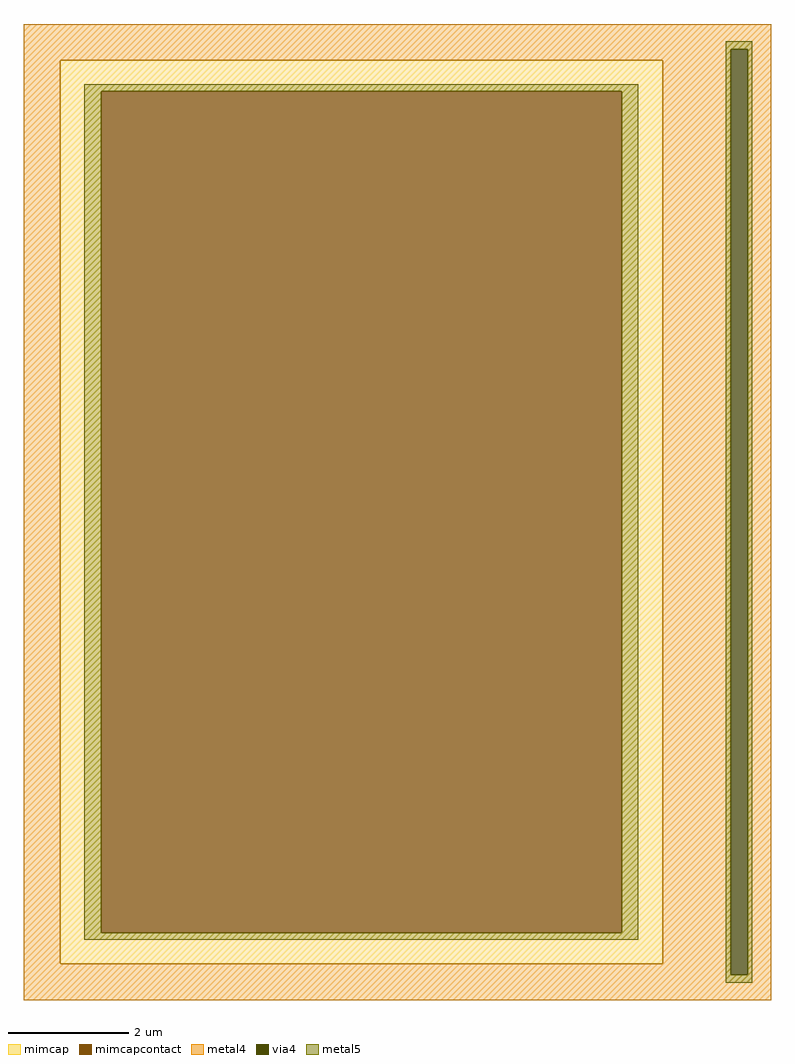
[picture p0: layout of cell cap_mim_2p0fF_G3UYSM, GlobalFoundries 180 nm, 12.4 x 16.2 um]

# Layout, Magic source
magic
tech gf180mcuD
magscale 1 10
<< mimcap >>
rect -1120 1396 880 1500
rect -1120 -1396 -984 1396
rect 744 -1396 880 1396
rect -1120 -1500 880 -1396
<< mimcapcontact >>
rect -984 -1396 744 1396
<< metal4 >>
rect -1240 1536 1240 1620
rect -1240 1500 1106 1536
rect -1240 -1500 -1120 1500
rect 880 -1500 1106 1500
rect -1240 -1536 1106 -1500
rect 1162 -1536 1240 1536
rect -1240 -1620 1240 -1536
<< via4 >>
rect 1106 -1536 1162 1536
<< metal5 >>
rect 1090 1536 1178 1563
rect -1040 1396 800 1420
rect -1040 -1396 -984 1396
rect 744 -1396 800 1396
rect -1040 -1420 800 -1396
rect 1090 -1536 1106 1536
rect 1162 -1536 1178 1536
rect 1090 -1563 1178 -1536
<< properties >>
string FIXED_BBOX -1240 -1620 1000 1620
<< end >>
